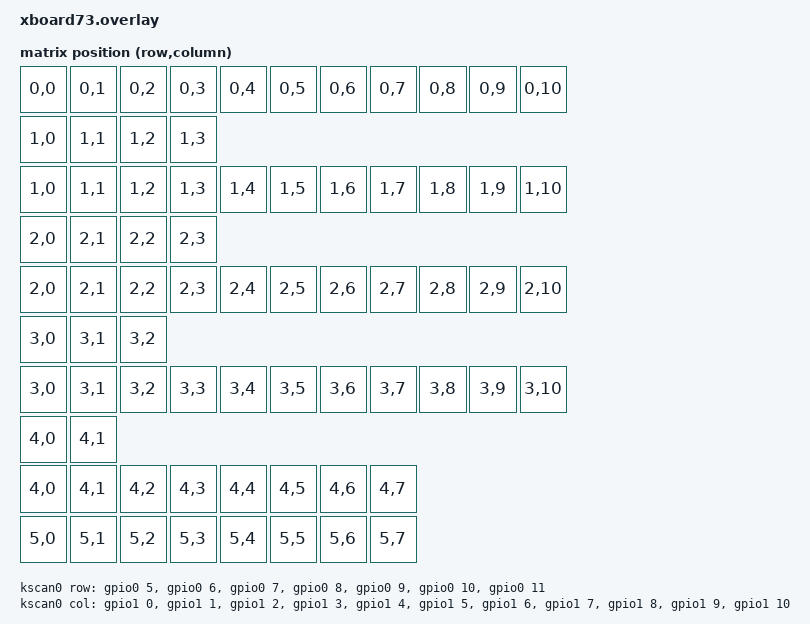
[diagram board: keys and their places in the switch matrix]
/*
 * xboard73 — 73 键自定义键盘 (nRF52840)
 *
 * 配列：
 *   R0: Esc  `   1   2   3   4   5   6   7   8   9   0   -   =   Bksp
 *   R1: F1   Tab Q   W   E   R   T   Y   U   I   O   P   [   ]   \
 *   R2: F2   Caps A   S   D   F   G   H   J   K   L   ;   '   Enter
 *   R3: F3   Sft Z   X   C   V   B   N   M   ,   .   /   Sft
 *   R4: F4   Ctrl Win Alt     Space(6.25u)    Alt Fn  Ctrl
 *   R5: Ins  Del PgUp PgDn   ↑   ←   ↓   →
 *
 * 电气矩阵：7 行 × 11 列 = 77 位（使用 73）
 *   行: P0.05-P0.11 (输入, 内置下拉)
 *   列: P1.00-P1.10 (输出)
 *
 * 73 = 15+15+14+13+8+8
 */

#include <dt-bindings/zmk/matrix_transform.h>

/ {
    chosen {
        zmk,kscan = &kscan0;
        zmk,matrix_transform = &default_transform;
    };

    kscan0: kscan {
        compatible = "zmk,kscan-gpio-matrix";
        label = "KSCAN";

        row-gpios =
            <&gpio0 5 (GPIO_ACTIVE_HIGH | GPIO_PULL_DOWN)>,   /* R0 */
            <&gpio0 6 (GPIO_ACTIVE_HIGH | GPIO_PULL_DOWN)>,   /* R1 */
            <&gpio0 7 (GPIO_ACTIVE_HIGH | GPIO_PULL_DOWN)>,   /* R2 */
            <&gpio0 8 (GPIO_ACTIVE_HIGH | GPIO_PULL_DOWN)>,   /* R3 */
            <&gpio0 9 (GPIO_ACTIVE_HIGH | GPIO_PULL_DOWN)>,   /* R4 */
            <&gpio0 10 (GPIO_ACTIVE_HIGH | GPIO_PULL_DOWN)>,  /* R5 */
            <&gpio0 11 (GPIO_ACTIVE_HIGH | GPIO_PULL_DOWN)>   /* R6 (备用) */
        ;

        col-gpios =
            <&gpio1 0 GPIO_ACTIVE_HIGH>,   /* C0 */
            <&gpio1 1 GPIO_ACTIVE_HIGH>,   /* C1 */
            <&gpio1 2 GPIO_ACTIVE_HIGH>,   /* C2 */
            <&gpio1 3 GPIO_ACTIVE_HIGH>,   /* C3 */
            <&gpio1 4 GPIO_ACTIVE_HIGH>,   /* C4 */
            <&gpio1 5 GPIO_ACTIVE_HIGH>,   /* C5 */
            <&gpio1 6 GPIO_ACTIVE_HIGH>,   /* C6 */
            <&gpio1 7 GPIO_ACTIVE_HIGH>,   /* C7 */
            <&gpio1 8 GPIO_ACTIVE_HIGH>,   /* C8 */
            <&gpio1 9 GPIO_ACTIVE_HIGH>,   /* C9 */
            <&gpio1 10 GPIO_ACTIVE_HIGH>   /* C10 */
        ;
    };

    default_transform: keymap_transform_0 {
        compatible = "zmk,matrix-transform";
        columns = <11>;
        rows = <7>;

        /* map: 每项 RC(行,列) 对应 keymap 中同一位置的按键 */
        map = <
        /* R0:  Esc  `    1    2    3    4    5    6    7    8    9    0    -    =    Bksp */
        RC(0,0) RC(0,1) RC(0,2) RC(0,3) RC(0,4) RC(0,5) RC(0,6) RC(0,7) RC(0,8) RC(0,9) RC(0,10)
        RC(1,0) RC(1,1) RC(1,2) RC(1,3)

        /* R1:  F1   Tab  Q    W    E    R    T    Y    U    I    O    P    [    ]    \ */
        RC(1,0) RC(1,1) RC(1,2) RC(1,3) RC(1,4) RC(1,5) RC(1,6) RC(1,7) RC(1,8) RC(1,9) RC(1,10)
        RC(2,0) RC(2,1) RC(2,2) RC(2,3)

        /* R2:  F2   Caps A    S    D    F    G    H    J    K    L    ;    '    Enter */
        RC(2,0) RC(2,1) RC(2,2) RC(2,3) RC(2,4) RC(2,5) RC(2,6) RC(2,7) RC(2,8) RC(2,9) RC(2,10)
        RC(3,0) RC(3,1) RC(3,2)

        /* R3:  F3   Sft  Z    X    C    V    B    N    M    ,    .    /    Sft */
        RC(3,0) RC(3,1) RC(3,2) RC(3,3) RC(3,4) RC(3,5) RC(3,6) RC(3,7) RC(3,8) RC(3,9) RC(3,10)
        RC(4,0) RC(4,1)

        /* R4:  F4   Ctrl Win  Alt       Space        Alt  Fn   Ctrl */
        RC(4,0) RC(4,1) RC(4,2) RC(4,3) RC(4,4) RC(4,5) RC(4,6) RC(4,7)

        /* R5:  Ins  Del  PgUp PgDn  ↑    ←    ↓    → */
        RC(5,0) RC(5,1) RC(5,2) RC(5,3) RC(5,4) RC(5,5) RC(5,6) RC(5,7)
        >;
    };
};
